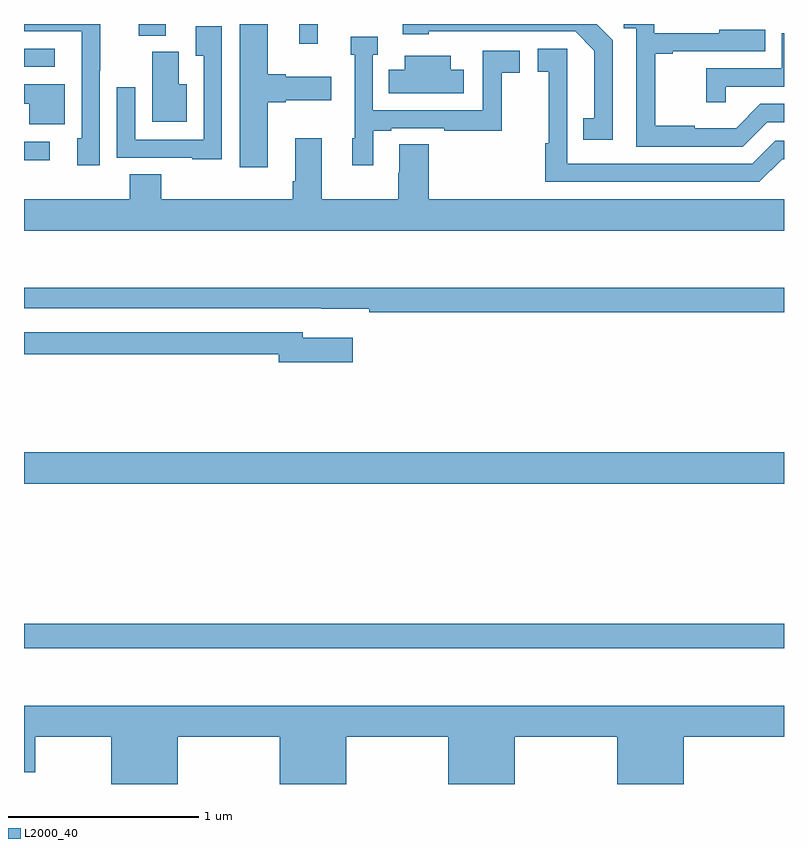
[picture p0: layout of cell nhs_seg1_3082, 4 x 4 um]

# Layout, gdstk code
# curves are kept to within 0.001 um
import gdstk
lib = gdstk.Library(unit=1e-6, precision=1e-09)
def R(c, l, rs):  # rectangles x0, y0, x1, y1
    for r in rs: c.add(gdstk.rectangle(r[:2], r[2:], *l))
def P(c, l, *ps):  # polygons
    for p in ps: c.add(gdstk.Polygon(p, *l))
L2000_40 = (2000, 40)

nhs_seg1_3082 = lib.new_cell('nhs_seg1_3082')
R(nhs_seg1_3082, L2000_40, [(279,502.914,283,503.042), (279,503.78,283,503.944), (279,505.481,279.136,505.578), (279,505.974,279.163,506.07), (280.448,506.094,280.545,506.199), (279.605,506.137,279.745,506.199)])
P(nhs_seg1_3082, L2000_40, [(282.099,506.114),(282.014,506.199),(280.994,506.199),(280.994,506.144),(281.13,506.144),(281.13,506.16),(281.901,506.16),(282.002,506.059),(282.002,505.703),(281.944,505.703),(281.944,505.59),(282.099,505.59)],
  [(282.912,505.683),(283,505.683),(283,505.779),(282.876,505.779),(282.748,505.651),(282.53,505.651),(282.53,505.663),(282.323,505.663),(282.323,506.043),(282.415,506.043),(282.415,506.055),(282.902,506.055),(282.902,506.17),(282.659,506.17),(282.659,506.151),(282.318,506.151),(282.318,506.199),(282.157,506.199),(282.157,506.177),(282.222,506.177),(282.222,505.554),(282.783,505.554)],
  [(280.282,505.787),(280.378,505.787),(280.378,505.799),(280.618,505.799),(280.618,505.921),(280.378,505.921),(280.378,505.934),(280.282,505.934),(280.282,506.199),(280.136,506.199),(280.136,505.446),(280.282,505.446)],
  [(279.399,505.954),(279.401,505.954),(279.401,506.199),(279,506.199),(279,506.16),(279.303,506.16),(279.303,505.599),(279.281,505.599),(279.281,505.455),(279.399,505.455)],
  [(280.041,506.188),(279.905,506.188),(279.905,506.032),(279.945,506.032),(279.945,505.59),(279.585,505.59),(279.585,505.867),(279.489,505.867),(279.489,505.494),(279.885,505.494),(279.885,505.487),(280.041,505.487)],
  [(282.693,505.869),(283,505.869),(283,506.151),(282.987,506.151),(282.987,505.965),(282.592,505.965),(282.592,505.788),(282.693,505.788)],
  [(280.837,505.638),(280.933,505.638),(280.933,505.65),(281.212,505.65),(281.212,505.638),(281.514,505.638),(281.514,505.942),(281.608,505.942),(281.608,506.058),(281.415,506.058),(281.415,505.746),(280.836,505.746),(280.836,506.037),(280.861,506.037),(280.861,506.131),(280.721,506.131),(280.721,506.037),(280.74,506.037),(280.74,505.599),(280.727,505.599),(280.727,505.455),(280.837,505.455)],
  [(282.99,505.488),(283,505.488),(283,505.584),(282.954,505.584),(282.834,505.464),(281.859,505.464),(281.86,506.068),(281.703,506.068),(281.703,505.947),(281.761,505.947),(281.761,505.571),(281.743,505.571),(281.743,505.368),(282.87,505.368)],
  [(279.856,505.882),(279.814,505.882),(279.814,506.052),(279.674,506.052),(279.674,505.685),(279.856,505.685)],
  [(281.314,505.957),(281.245,505.957),(281.245,506.032),(281.003,506.032),(281.003,505.957),(280.921,505.957),(280.921,505.835),(281.314,505.835)],
  [(279.214,505.882),(279,505.882),(279,505.778),(279.027,505.778),(279.027,505.671),(279.214,505.671)],
  [(283,505.276),(281.129,505.276),(281.129,505.565),(280.976,505.565),(280.976,505.415),(280.969,505.415),(280.969,505.276),(280.567,505.276),(280.567,505.597),(280.427,505.597),(280.427,505.372),(280.415,505.372),(280.415,505.276),(279.722,505.276),(279.722,505.409),(279.557,505.409),(279.557,505.276),(279,505.276),(279,505.112),(283,505.112)],
  [(283,504.811),(279,504.811),(279,504.702),(280.564,504.702),(280.564,504.701),(280.816,504.701),(280.816,504.682),(283,504.682)],
  [(280.729,504.547),(280.468,504.547),(280.468,504.576),(279,504.576),(279,504.46),(280.34,504.46),(280.34,504.418),(280.729,504.418)],
  [(279.808,502.448),(280.346,502.448),(280.346,502.199),(280.696,502.199),(280.696,502.448),(281.234,502.448),(281.234,502.199),(281.584,502.199),(281.584,502.448),(282.122,502.448),(282.122,502.199),(282.472,502.199),(282.472,502.448),(283,502.448),(283,502.612),(279,502.612),(279,502.26),(279.058,502.26),(279.058,502.448),(279.458,502.448),(279.458,502.199),(279.808,502.199)])

lib.write_gds('nhs_seg1_3082.gds')
